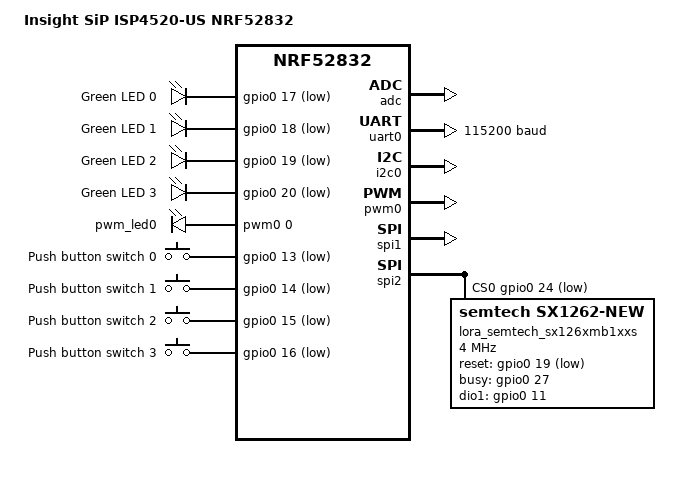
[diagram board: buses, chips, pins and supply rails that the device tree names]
/*
 * Copyright (c) 2017 Shawn Nock <shawn@monadnock.ca>
 * Copyright (c) 2017 Linaro Limited
 *
 * SPDX-License-Identifier: Apache-2.0
 */

/dts-v1/;
#include <nordic/nrf52832_qfaa.dtsi>
#include "isp4520-us_nrf52832-pinctrl.dtsi"
#include <zephyr/dt-bindings/input/input-event-codes.h>
#include <zephyr/dt-bindings/lora_lbm/sx126x.h>

/ {
	model = "Insight SiP ISP4520-US NRF52832";
	compatible = "insightsip,isp4520-us-nrf52832";

	chosen {
		zephyr,console = &uart0;
		zephyr,shell-uart = &uart0;
		zephyr,uart-mcumgr = &uart0;
		zephyr,bt-mon-uart = &uart0;
		zephyr,bt-c2h-uart = &uart0;
		zephyr,sram = &sram0;
		zephyr,flash = &flash0;
		zephyr,code-partition = &slot0_partition;
		zephyr,lora-transceiver = &lora_semtech_sx126xmb1xxs;
	};

	leds {
		compatible = "gpio-leds";
		led0: led_0 {
			gpios = <&gpio0 17 GPIO_ACTIVE_LOW>;
			label = "Green LED 0";
		};
		led1: led_1 {
			gpios = <&gpio0 18 GPIO_ACTIVE_LOW>;
			label = "Green LED 1";
		};
		led2: led_2 {
			gpios = <&gpio0 19 GPIO_ACTIVE_LOW>;
			label = "Green LED 2";
		};
		led3: led_3 {
			gpios = <&gpio0 20 GPIO_ACTIVE_LOW>;
			label = "Green LED 3";
		};
	};

	pwmleds {
		compatible = "pwm-leds";
		pwm_led0: pwm_led_0 {
			pwms = <&pwm0 0 PWM_MSEC(20) PWM_POLARITY_INVERTED>;
		};
	};

	buttons {
		compatible = "gpio-keys";
		button0: button_0 {
			gpios = <&gpio0 13 (GPIO_PULL_UP | GPIO_ACTIVE_LOW)>;
			label = "Push button switch 0";
			zephyr,code = <INPUT_KEY_0>;
		};
		button1: button_1 {
			gpios = <&gpio0 14 (GPIO_PULL_UP | GPIO_ACTIVE_LOW)>;
			label = "Push button switch 1";
			zephyr,code = <INPUT_KEY_1>;
		};
		button2: button_2 {
			gpios = <&gpio0 15 (GPIO_PULL_UP | GPIO_ACTIVE_LOW)>;
			label = "Push button switch 2";
			zephyr,code = <INPUT_KEY_2>;
		};
		button3: button_3 {
			gpios = <&gpio0 16 (GPIO_PULL_UP | GPIO_ACTIVE_LOW)>;
			label = "Push button switch 3";
			zephyr,code = <INPUT_KEY_3>;
		};
	};

	/* These aliases are provided for compatibility with samples */
	aliases {
		led0 = &led0;
		led1 = &led1;
		led2 = &led2;
		led3 = &led3;
		pwm-led0 = &pwm_led0;
		sw0 = &button0;
		sw1 = &button1;
		sw2 = &button2;
		sw3 = &button3;
		bootloader-led0 = &led0;
		mcuboot-button0 = &button0;
		mcuboot-led0 = &led0;
		watchdog0 = &wdt0;
		lora-transceiver = &lora_semtech_sx126xmb1xxs;
		smtc-hal-uart = &uart0;
        smtc-watchdog = &wdt;
		smtc-user-button = &button0;
	};
};

&adc {
	status = "okay";
};

&uicr {
	gpio-as-nreset;
};

&gpiote {
	status = "okay";
};

&gpio0 {
	status = "okay";
};

&uart0 {
	status = "okay";
	compatible = "nordic,nrf-uarte";
	current-speed = <115200>;
	pinctrl-0 = <&uart0_default>;
	pinctrl-1 = <&uart0_sleep>;
	pinctrl-names = "default", "sleep";
};

&i2c0 {
	compatible = "nordic,nrf-twi";
	status = "okay";
	pinctrl-0 = <&i2c0_default>;
	pinctrl-1 = <&i2c0_sleep>;
	pinctrl-names = "default", "sleep";
};

&i2c1 {
	compatible = "nordic,nrf-twi";
	/* Cannot be used together with spi1. */
	/* status = "okay"; */
	pinctrl-0 = <&i2c1_default>;
	pinctrl-1 = <&i2c1_sleep>;
	pinctrl-names = "default", "sleep";
};

&pwm0 {
	status = "okay";
	pinctrl-0 = <&pwm0_default>;
	pinctrl-1 = <&pwm0_sleep>;
	pinctrl-names = "default", "sleep";
};

&spi0 {
	compatible = "nordic,nrf-spi";
	/* Cannot be used together with i2c0. */
	/* status = "okay"; */
	pinctrl-0 = <&spi0_default>;
	pinctrl-1 = <&spi0_sleep>;
	pinctrl-names = "default", "sleep";
};

&spi1 {
	compatible = "nordic,nrf-spi";
	status = "okay";
	pinctrl-0 = <&spi1_default>;
	pinctrl-1 = <&spi1_sleep>;
	pinctrl-names = "default", "sleep";
};

&spi2 {
	compatible = "nordic,nrf-spi";
	status = "okay";
	cs-gpios = <&gpio0 24 GPIO_ACTIVE_LOW>;
	pinctrl-0 = <&spi2_default>;
	pinctrl-1 = <&spi2_sleep>;
	pinctrl-names = "default", "sleep";
	
	lora_semtech_sx126xmb1xxs: lora@0 {
        reg = <0>;
        spi-max-frequency = <DT_FREQ_M(4)>;
        reset-gpios = <&gpio0 19 GPIO_ACTIVE_LOW>;
        busy-gpios = <&gpio0 27 GPIO_ACTIVE_HIGH>;
        dio1-gpios = <&gpio0 11 (GPIO_ACTIVE_HIGH | GPIO_PULL_DOWN)>;
        dio2-as-rf-switch;
        reg-mode = <SX126X_REG_MODE_LDO>;
        tcxo-wakeup-time = <0>;
        tcxo-voltage = <SX126X_TCXO_SUPPLY_1_8V>;
    };
};

&flash0 {

	partitions {
		compatible = "fixed-partitions";
		#address-cells = <1>;
		#size-cells = <1>;

		boot_partition: partition@0 {
			label = "mcuboot";
			reg = <0x00000000 0xc000>;
		};
		slot0_partition: partition@c000 {
			label = "image-0";
			reg = <0x0000C000 0x37000>;
		};
		slot1_partition: partition@43000 {
			label = "image-1";
			reg = <0x00043000 0x37000>;
		};
		storage_partition: partition@7a000 {
			label = "storage";
			reg = <0x0007a000 0x00006000>;
		};
	};
};

lora_semtech_sx1262mb1xxs: &lora_semtech_sx126xmb1xxs {
	compatible = "semtech,sx1262-new";

	reg-mode = <SX126X_REG_MODE_DCDC>;

	dio3-as-tcxo-control;
	tcxo-wakeup-time = <8>;
};
